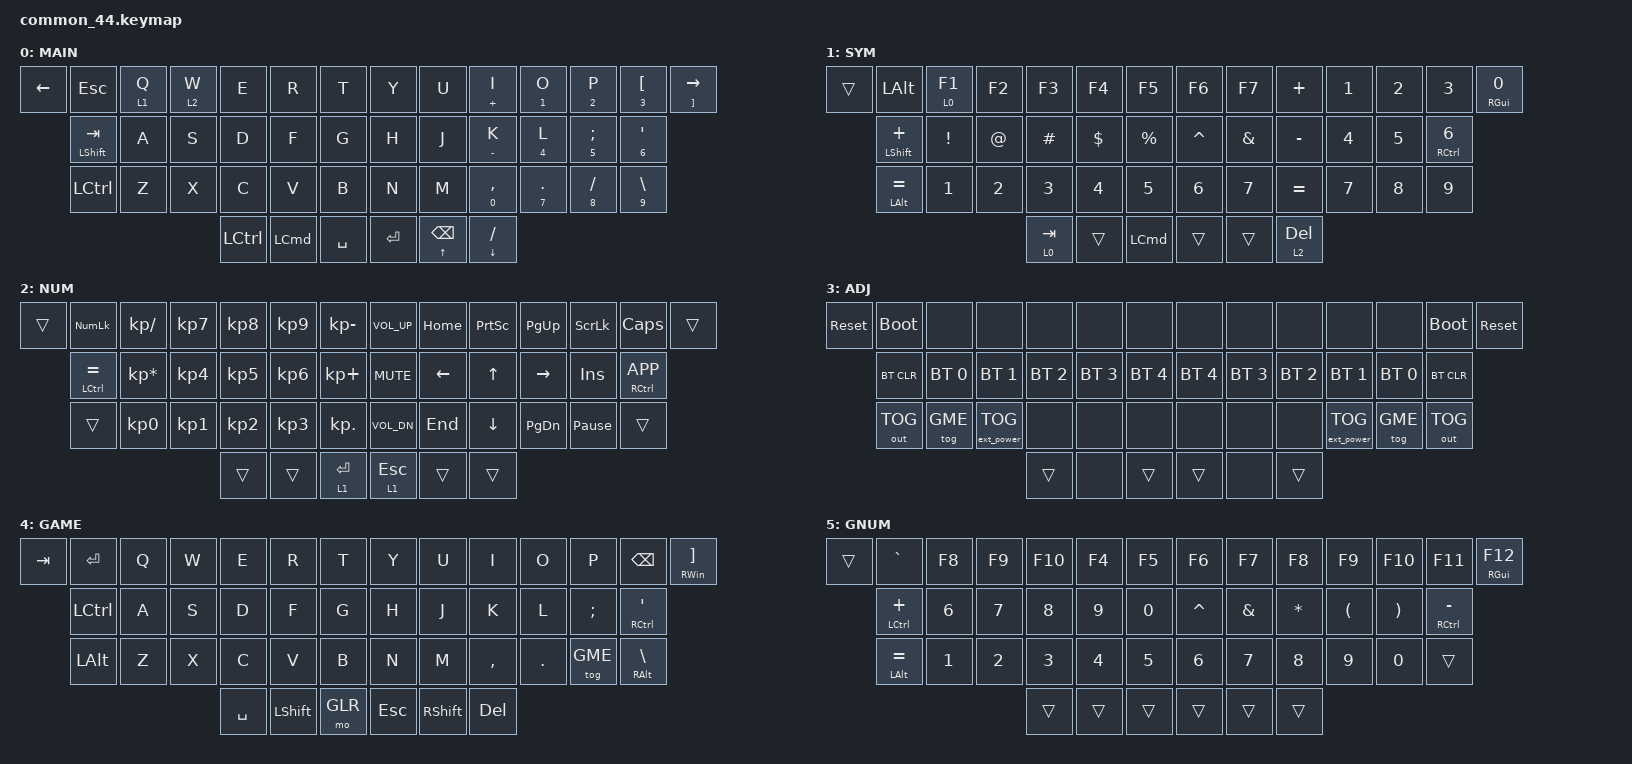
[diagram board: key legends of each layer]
/*
 * Copyright (c) 2020 The ZMK Contributors
 *
 * SPDX-License-Identifier: MIT
 */

#include <behaviors.dtsi>
#include <dt-bindings/zmk/bt.h>
#include <dt-bindings/zmk/ext_power.h>
#include <dt-bindings/zmk/keys.h>
#include <dt-bindings/zmk/outputs.h>

#define DEF 0
#define LWR 1
#define lower_layer LWR
#define RSE 2
#define raise_layer RSE
#define ADJ 3
#define adjust_layer ADJ
#define GME 4
#define GLR 5

&lt { quick-tap-ms = <200>; };

&mt { quick-tap-ms = <200>; };

/ {
    combos {
        compatible = "zmk,combos";

        ESCape {
            bindings = <&kp ESCAPE>;
            key-positions = <1 2>;
        };

        BSP {
            bindings = <&kp BACKSPACE>;
            key-positions = <11 12>;
        };

        TABul {
            bindings = <&kp TAB>;
            key-positions = <14 15>;
        };
    };

    macros {
        lang: lang {
            compatible = "zmk,behavior-macro";
            #binding-cells = <0>;
            bindings =
                <&macro_press>,
                <&kp LCTRL>,
                <&macro_tap>,
                <&kp SPACE>,
                <&macro_release>,
                <&kp LCTRL>;

            label = "LANG";
        };
    };

    behaviors {
        LT2Lang: LT2Lang {
            compatible = "zmk,behavior-hold-tap";
            label = "LT2LANG";
            bindings = <&lt>, <&lang>;

            #binding-cells = <2>;
            tapping-term-ms = <150>;
            flavor = "balanced";
            hold-trigger-key-positions = <38>;
        };

        lt2esclang: lt2esclang {
            compatible = "zmk,behavior-tap-dance";
            label = "LT2ESCLANG";
            #binding-cells = <0>;
            bindings = <&lt 2 ESCAPE>, <&lang>;
        };
    };

    keymap {
        compatible = "zmk,keymap";

        default_layer {
            label = "MAIN";

            // -----------------------------------------------------------------------------------------
            // |  GUI |   ~  |  Q  |  W  |  E  |  R  |  T  |   |  Y  |  U   |  I  |  O  |  P  |  [   | GUI/] |
            //        | CTRL |  A  |  S  |  D  |  F  |  G  |   |  H  |  J   |  K  |  L  |  ;  |CTRL/'|
            //        | LALT |  Z  |  X  |  C  |  V  |  B  |   |  N  |  M   |  ,  |  .  |  /  | RALT |
            //                           | RSE | SPC | LWR |   | LWR | BKSP | RSE |

            bindings = <
&kp LEFT_ARROW  &kp ESCAPE          &lt 1 Q  &lt 2 W  &kp E             &kp R             &kp T        &kp Y      &kp U                   &mt PLUS I          &mt NUMBER_1 O  &mt NUMBER_2 P    &mt NUMBER_3 LEFT_BRACKET  &mt RIGHT_BRACKET RIGHT
                &mt LEFT_SHIFT TAB  &kp A    &kp S    &kp D             &kp F             &kp G        &kp H      &kp J                   &mt MINUS K         &mt NUMBER_4 L  &mt N5 SEMICOLON  &mt NUMBER_6 SQT
                &kp LEFT_CONTROL    &kp Z    &kp X    &kp C             &kp V             &kp B        &kp N      &kp M                   &mt NUMBER_0 COMMA  &mt N7 DOT      &mt N8 FSLH       &mt N9 BSLH
                                                      &kp LEFT_CONTROL  &kp LEFT_COMMAND  &kp SPACE    &kp ENTER  &mt UP_ARROW BACKSPACE  &mt DOWN SLASH
            >;
        };

        lower_layer {
            label = "SYM";

            // -----------------------------------------------------------------------------------------
            // |     |  _  |  F1 |  F2 |  F3 |  F4 |  F5 |   |  F6 |  F7 |  F8 |  F9 | F10 | F11 | F12 |
            //       |  +  |  !  |  @  |  #  |  $  |  %  |   |  ^  |  &  |  *  |  (  |  )  |  -  |
            //       |  =  |  1  |  2  |  3  |  4  |  5  |   |  6  |  7  |  8  |  9  |  0  |     |
            //                    | GUI |     | SPC |   | ENT |     | ALT |

            bindings = <
&trans  &kp LEFT_ALT         &lt 0 F1  &kp F2  &kp F3     &kp F4    &kp F5              &kp F6     &kp F7    &kp PLUS   &kp NUMBER_1  &kp NUMBER_2  &kp NUMBER_3        &mt RGUI N0
        &mt LEFT_SHIFT PLUS  &kp EXCL  &kp AT  &kp HASH   &kp DLLR  &kp PRCNT           &kp CARET  &kp AMPS  &kp MINUS  &kp NUMBER_4  &kp N5        &mt RCTRL NUMBER_6
        &mt LALT EQUAL       &kp N1    &kp N2  &kp N3     &kp N4    &kp N5              &kp N6     &kp N7    &kp EQUAL  &kp N7        &kp N8        &kp N9
                                               &lt 0 TAB  &trans    &kp LEFT_COMMAND    &trans     &trans    &lt 2 DEL
            >;
        };

        raise_layer {
            label = "NUM";

            // -----------------------------------------------------------------------------------------
            // |     | NMLK |  /  |  7  |  8  |  9  |  -  |   | VOLU| HOME| PRSC| PGUP| SCLK| CLCK|     |
            //       | CTRL |  *  |  4  |  5  |  6  |  +  |   | MUT | LEFT|  UP | RGHT| INS | APP |
            //       |      |  0  |  1  |  2  |  3  |  .  |   | VOLD| END | DOWN| PGDN| PAUS|     |
            //                          |     |     | ADJ |   | ADJ |     |     |

            bindings = <
&trans  &kp KP_NUM       &kp KP_SLASH     &kp KP_N7  &kp KP_N8  &kp KP_N9  &kp KP_MINUS    &kp C_VOL_UP  &kp HOME  &kp PSCRN  &kp PG_UP  &kp SLCK         &kp CAPS         &trans
        &mt LCTRL EQUAL  &kp KP_MULTIPLY  &kp KP_N4  &kp KP_N5  &kp KP_N6  &kp KP_PLUS     &kp C_MUTE    &kp LEFT  &kp UP     &kp RIGHT  &kp INS          &mt RCTRL K_APP
        &trans           &kp KP_N0        &kp KP_N1  &kp KP_N2  &kp KP_N3  &kp KP_DOT      &kp C_VOL_DN  &kp END   &kp DOWN   &kp PG_DN  &kp PAUSE_BREAK  &trans
                                                     &trans     &trans     &lt 1 RET       &lt 1 ESC     &trans    &trans
            >;
        };

        adjust_layer {
            label = "ADJ";

            // -----------------------------------------------------------------------------------------
            // | RST | BLDR |     |     |     |     |     |   |     |     |     |     |     | BLDR | RST |
            //       | BTCLR| BT0 | BT1 | BT2 | BT3 | BT4 |   | BT4 | BT3 | BT2 | BT1 | BT0 | BTCLR|
            //       |      |     |     |     |     |     |   |     |     |     |     |     |      |
            //                          |     |     |     |   |     |     |     |

            bindings = <
&sys_reset  &bootloader   &none         &none              &none         &none         &none           &none         &none         &none         &none              &none         &bootloader   &sys_reset
            &bt BT_CLR    &bt BT_SEL 0  &bt BT_SEL 1       &bt BT_SEL 2  &bt BT_SEL 3  &bt BT_SEL 4    &bt BT_SEL 4  &bt BT_SEL 3  &bt BT_SEL 2  &bt BT_SEL 1       &bt BT_SEL 0  &bt BT_CLR
            &out OUT_TOG  &tog GME      &ext_power EP_TOG  &none         &none         &none           &none         &none         &none         &ext_power EP_TOG  &tog GME      &out OUT_TOG
                                                           &trans        &none         &trans          &trans        &none         &trans
            >;
        };

        gaming_layer {
            label = "GAME";

            // -----------------------------------------------------------------------------------------
            // |  GUI |   ~  |  Q  |  W  |  E  |  R  |  T  |   |  Y  |  U   |  I  |  O  |  P  |  [   | GUI/] |
            //        | CTRL |  A  |  S  |  D  |  F  |  G  |   |  H  |  J   |  K  |  L  |  ;  |CTRL/'|
            //        | LALT |  Z  |  X  |  C  |  V  |  B  |   |  N  |  M   |  ,  |  .  |  /  | RALT |
            //                           | RSE | SPC | LWR |   | LWR | BKSP | RSE |

            bindings = <
&kp TAB  &kp RET    &kp Q  &kp W  &kp E      &kp R      &kp T      &kp Y    &kp U      &kp I      &kp O    &kp P     &kp BSPC       &mt RWIN RBKT
         &kp LCTRL  &kp A  &kp S  &kp D      &kp F      &kp G      &kp H    &kp J      &kp K      &kp L    &kp SEMI  &mt RCTRL SQT
         &kp LALT   &kp Z  &kp X  &kp C      &kp V      &kp B      &kp N    &kp M      &kp COMMA  &kp DOT  &tog GME  &mt RALT BSLH
                                  &kp SPACE  &kp LSHFT  &mo GLR    &kp ESC  &kp RSHFT  &kp DEL
            >;
        };

        gaming_lower_layer {
            label = "GNUM";

            // -----------------------------------------------------------------------------------------
            // |     |  _  |  F1 |  F2 |  F3 |  F4 |  F5 |   |  F6 |  F7 |  F8 |  F9 | F10 | F11 | F12 |
            //       |  +  |  !  |  @  |  #  |  $  |  %  |   |  ^  |  &  |  *  |  (  |  )  |  -  |
            //       |  =  |  1  |  2  |  3  |  4  |  5  |   |  6  |  7  |  8  |  9  |  0  |     |
            //                    | GUI |     | SPC |   | ENT |     | ALT |

            bindings = <
&trans  &kp GRAVE       &kp F8  &kp F9  &kp F10  &kp F4  &kp F5    &kp F6     &kp F7    &kp F8    &kp F9    &kp F10   &kp F11          &mt RGUI F12
        &mt LCTRL PLUS  &kp N6  &kp N7  &kp N8   &kp N9  &kp N0    &kp CARET  &kp AMPS  &kp STAR  &kp LPAR  &kp RPAR  &mt RCTRL MINUS
        &mt LALT EQUAL  &kp N1  &kp N2  &kp N3   &kp N4  &kp N5    &kp N6     &kp N7    &kp N8    &kp N9    &kp N0    &trans
                                        &trans   &trans  &trans    &trans     &trans    &trans
            >;
        };
    };

    conditional_layers {
        compatible = "zmk,conditional-layers";

        adj {
            if-layers = <1 2>;
            then-layer = <3>;
        };
    };
};
